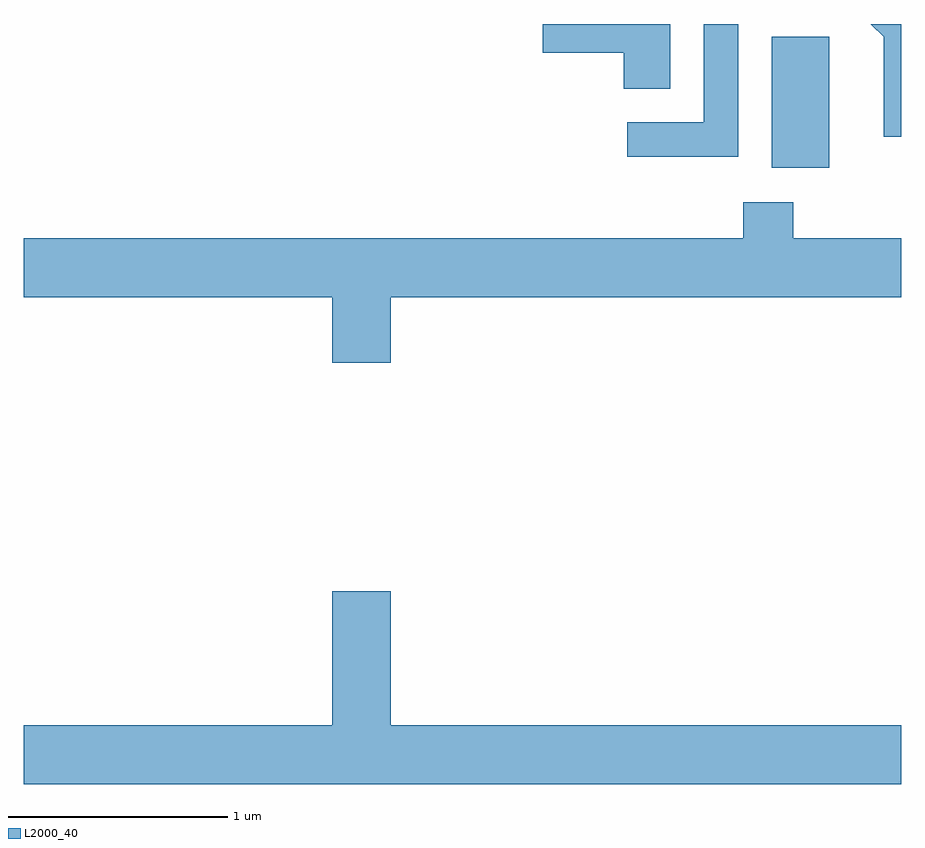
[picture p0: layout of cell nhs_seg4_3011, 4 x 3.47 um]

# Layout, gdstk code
import gdstk
lib = gdstk.Library(unit=1e-6, precision=1e-09)
def R(c, l, rs):  # rectangles x0, y0, x1, y1
    for r in rs: c.add(gdstk.rectangle(r[:2], r[2:], *l))
def P(c, l, *ps):  # polygons
    for p in ps: c.add(gdstk.Polygon(p, *l))
L2000_40 = (2000, 40)

nhs_seg4_3011 = lib.new_cell('nhs_seg4_3011')
R(nhs_seg4_3011, L2000_40, [(277.021,1295.326,277.284,1295.924)])
P(nhs_seg4_3011, L2000_40, [(276.559,1295.982),(275.976,1295.982),(275.976,1295.851),(276.346,1295.851),(276.346,1295.686),(276.559,1295.686)],
  [(276.869,1295.982),(276.711,1295.982),(276.711,1295.534),(276.363,1295.534),(276.363,1295.376),(276.869,1295.376)],
  [(277.611,1295.982),(277.473,1295.982),(277.531,1295.924),(277.531,1295.468),(277.611,1295.468)],
  [(275.284,1294.736),(277.611,1294.736),(277.611,1295.004),(277.119,1295.004),(277.119,1295.169),(276.891,1295.169),(276.891,1295.004),(273.611,1295.004),(273.611,1294.736),(275.016,1294.736),(275.016,1294.436),(275.284,1294.436)],
  [(277.611,1292.784),(275.284,1292.784),(275.284,1293.394),(275.016,1293.394),(275.016,1292.784),(273.611,1292.784),(273.611,1292.516),(277.611,1292.516)])

lib.write_gds('nhs_seg4_3011.gds')
